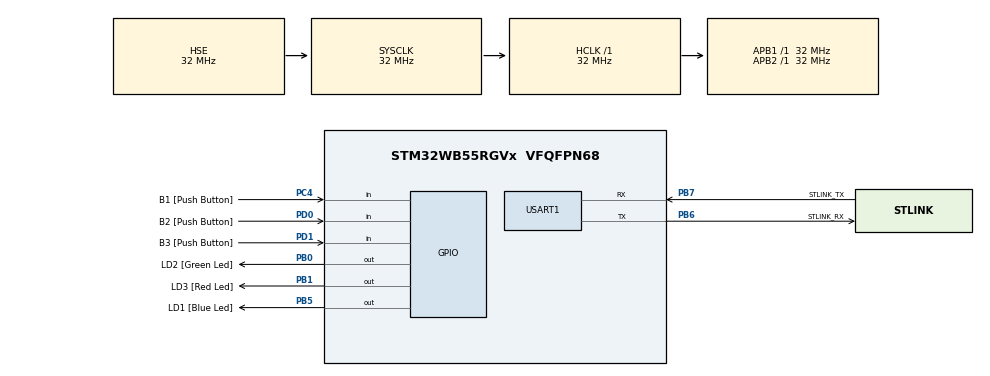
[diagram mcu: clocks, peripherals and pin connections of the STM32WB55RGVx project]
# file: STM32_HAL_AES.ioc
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AES1.KeyIVConfigSkip=CRYP_KEYIVCONFIG_ALWAYS
AES1.KeySize=CRYP_KEYSIZE_256B
AES1.pKey=603DEB10 15CA71BE 2B73AEF0 857D7781 1F352C07 3B6108D7 2D9810A3 0914DFF4
Mcu.Family=STM32WB
Mcu.Name=STM32WB55RGVx
Mcu.Package=VFQFPN68
NVIC.PriorityGroup=NVIC_PRIORITYGROUP_4
OSC_IN.Mode=HSE-External-Oscillator
OSC_IN.Signal=RCC_OSC_IN
OSC_OUT.Mode=HSE-External-Oscillator
OSC_OUT.Signal=RCC_OSC_OUT
PA13.GPIO_Label=JTMS
PA13.Mode=Trace_Asynchronous_SW
PA13.Signal=SYS_JTMS-SWDIO
PA14.GPIO_Label=JTCK
PA14.Mode=Trace_Asynchronous_SW
PA14.Signal=SYS_JTCK-SWCLK
PB0.GPIO_Label=LD2 [Green Led]
PB0.Signal=GPIO_Output
PB1.GPIO_Label=LD3 [Red Led]
PB1.Signal=GPIO_Output
PB3.GPIO_Label=JTDO
PB3.Mode=Trace_Asynchronous_SW
PB3.Signal=SYS_JTDO-SWO
PB5.GPIO_Label=LD1 [Blue Led]
PB5.Signal=GPIO_Output
PB6.GPIO_Label=STLINK_RX
PB6.GPIO_PuPd=GPIO_PULLUP
PB6.Mode=Asynchronous
PB6.Signal=USART1_TX
PB7.GPIO_Label=STLINK_TX
PB7.GPIO_PuPd=GPIO_PULLUP
PB7.Mode=Asynchronous
PB7.Signal=USART1_RX
PC13.Mode=SYS_WakeUp1
PC13.Signal=SYS_WKUP2
PC14-OSC32_IN.Mode=LSE-External-Oscillator
PC14-OSC32_IN.Signal=RCC_OSC32_IN
PC15-OSC32_OUT.Mode=LSE-External-Oscillator
PC15-OSC32_OUT.Signal=RCC_OSC32_OUT
PC4.GPIO_Label=B1 [Push Button]
PC4.Signal=GPIO_Input
PD0.GPIO_Label=B2 [Push Button]
PD0.Signal=GPIO_Input
PD1.GPIO_Label=B3 [Push Button]
PD1.Signal=GPIO_Input
ProjectManager.HeapSize=0x200
ProjectManager.StackSize=0x400
ProjectManager.TargetToolchain=STM32CubeIDE
RCC.ADCFreq_Value=48000000
RCC.AHBFreq_Value=32000000
RCC.APB1Freq_Value=32000000
RCC.APB1TimFreq_Value=32000000
RCC.APB2Freq_Value=32000000
RCC.APB2TimFreq_Value=32000000
RCC.APB3Freq_Value=16000000
RCC.CortexFreq_Value=32000000
RCC.HCLKFreq_Value=32000000
RCC.HSE_VALUE=32000000
RCC.HSI48_VALUE=48000000
RCC.HSI_VALUE=16000000
RCC.PLLN=32
RCC.PLLSAI1N=24
RCC.SMPSCLockSelectionVirtual=RCC_SMPSCLKSOURCE_HSI
RCC.SMPSCLockSelectionVirtualVirtual=RCC_SMPSCLKSOURCE_HSI
RCC.SMPSDivider=1
RCC.SYSCLKFreq_VALUE=32000000
RCC.SYSCLKSource=RCC_SYSCLKSOURCE_HSE
RCC.USBFreq_Value=48000000
RCC.VCOOutputFreq_Value=128000000
USART1.VirtualMode-Asynchronous=VM_ASYNC
USART1.WordLength=WORDLENGTH_7B
VP_AES1_VS_AES.Mode=AES_Activate
board=NUCLEO-WB55RG

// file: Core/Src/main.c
/* USER CODE BEGIN Header */
/**
  ******************************************************************************
  * @file           : main.c
  * @brief          : Main program body
  ******************************************************************************
  * @attention
  *
  * Copyright (c) 2022 STMicroelectronics.
  * All rights reserved.
  *
  * This software is licensed under terms that can be found in the LICENSE file
  * in the root directory of this software component.
  * If no LICENSE file comes with this software, it is provided AS-IS.
  *
  ******************************************************************************
  */
/* USER CODE END Header */
#include "main.h"
#include "aes.h"
#include "usart.h"
#include "gpio.h"

/* USER CODE BEGIN Includes */
#include <memory.h>
/* USER CODE END Includes */

void SystemClock_Config(void);
void PeriphCommonClock_Config(void);

/* USER CODE BEGIN 0 */

/*
https://nvlpubs.nist.gov/nistpubs/Legacy/SP/nistspecialpublication800-38a.pdf
F.1.5 ECB-AES256.Encrypt
Key 603deb1015ca71be2b73aef0857d77811f352c073b6108d72d9810a30914dff4
Block #1
Plaintext 6bc1bee22e409f96e93d7e117393172a
Ciphertext f3eed1bdb5d2a03c064b5a7e3db181f8
*/

uint32_t plainText[4] = {0x6bc1bee2, 0x2e409f96, 0xe93d7e11, 0x7393172a};
uint32_t cipherText[4] = {0xf3eed1bd, 0xb5d2a03c, 0x064b5a7e, 0x3db181f8};
uint32_t encrypted[4] = {0x0,};
uint32_t decrypted[4] = {0x0,};

uint32_t startTick, endTick, encTick, decTick;

/* USER CODE END 0 */

int main(void)
{

  /* MCU Configuration--------------------------------------------------------*/

  /* Reset of all peripherals, Initializes the Flash interface and the Systick. */
  HAL_Init();

  /* Configure the system clock */
  SystemClock_Config();

/* Configure the peripherals common clocks */
  PeriphCommonClock_Config();

  /* Initialize all configured peripherals */
  MX_GPIO_Init();
  MX_AES1_Init();
  MX_USART1_UART_Init();
  /* USER CODE BEGIN 2 */

  startTick = HAL_GetTick();
  if(HAL_OK != HAL_CRYP_Encrypt(&hcryp1, plainText, 4, encrypted, 1000))
  {
    Error_Handler();
  }
  endTick = HAL_GetTick();
  encTick = endTick - startTick;

  startTick = HAL_GetTick();
  if(HAL_OK != HAL_CRYP_Decrypt(&hcryp1, cipherText, 4, decrypted, 1000))
  {
    Error_Handler();
  }
  endTick = HAL_GetTick();
  decTick = encTick - startTick;

  if(memcmp(plainText, decrypted, sizeof(uint32_t)*4) != 0)
  {
    Error_Handler();
  }

  if(memcmp(cipherText, encrypted, sizeof(uint32_t)*4) != 0)
  {
    Error_Handler();
  }

  /* USER CODE END 2 */

  /* Infinite loop */
  while (1)
  {

  }
}

void SystemClock_Config(void)
{
  RCC_OscInitTypeDef RCC_OscInitStruct = {0};
  RCC_ClkInitTypeDef RCC_ClkInitStruct = {0};

  /** Configure the main internal regulator output voltage
  */
  __HAL_PWR_VOLTAGESCALING_CONFIG(PWR_REGULATOR_VOLTAGE_SCALE1);

  /** Initializes the RCC Oscillators according to the specified parameters
  * in the RCC_OscInitTypeDef structure.
  */
  RCC_OscInitStruct.OscillatorType = RCC_OSCILLATORTYPE_HSI|RCC_OSCILLATORTYPE_HSE;
  RCC_OscInitStruct.HSEState = RCC_HSE_ON;
  RCC_OscInitStruct.HSIState = RCC_HSI_ON;
  RCC_OscInitStruct.HSICalibrationValue = RCC_HSICALIBRATION_DEFAULT;
  RCC_OscInitStruct.PLL.PLLState = RCC_PLL_NONE;
  if (HAL_RCC_OscConfig(&RCC_OscInitStruct) != HAL_OK)
  {
    Error_Handler();
  }

  /** Configure the SYSCLKSource, HCLK, PCLK1 and PCLK2 clocks dividers
  */
  RCC_ClkInitStruct.ClockType = RCC_CLOCKTYPE_HCLK4|RCC_CLOCKTYPE_HCLK2
                              |RCC_CLOCKTYPE_HCLK|RCC_CLOCKTYPE_SYSCLK
                              |RCC_CLOCKTYPE_PCLK1|RCC_CLOCKTYPE_PCLK2;
  RCC_ClkInitStruct.SYSCLKSource = RCC_SYSCLKSOURCE_HSE;
  RCC_ClkInitStruct.AHBCLKDivider = RCC_SYSCLK_DIV1;
  RCC_ClkInitStruct.APB1CLKDivider = RCC_HCLK_DIV1;
  RCC_ClkInitStruct.APB2CLKDivider = RCC_HCLK_DIV1;
  RCC_ClkInitStruct.AHBCLK2Divider = RCC_SYSCLK_DIV1;
  RCC_ClkInitStruct.AHBCLK4Divider = RCC_SYSCLK_DIV1;

  if (HAL_RCC_ClockConfig(&RCC_ClkInitStruct, FLASH_LATENCY_1) != HAL_OK)
  {
    Error_Handler();
  }
}

void PeriphCommonClock_Config(void)
{
  RCC_PeriphCLKInitTypeDef PeriphClkInitStruct = {0};

  /** Initializes the peripherals clock
  */
  PeriphClkInitStruct.PeriphClockSelection = RCC_PERIPHCLK_SMPS;
  PeriphClkInitStruct.SmpsClockSelection = RCC_SMPSCLKSOURCE_HSI;
  PeriphClkInitStruct.SmpsDivSelection = RCC_SMPSCLKDIV_RANGE0;

  if (HAL_RCCEx_PeriphCLKConfig(&PeriphClkInitStruct) != HAL_OK)
  {
    Error_Handler();
  }
}

void Error_Handler(void)
{
  /* USER CODE BEGIN Error_Handler_Debug */
  /* User can add his own implementation to report the HAL error return state */
  __disable_irq();
  while (1)
  {
    HAL_GPIO_WritePin(LD3_GPIO_Port, LD3_Pin, GPIO_PIN_SET);
  }
  /* USER CODE END Error_Handler_Debug */
}
